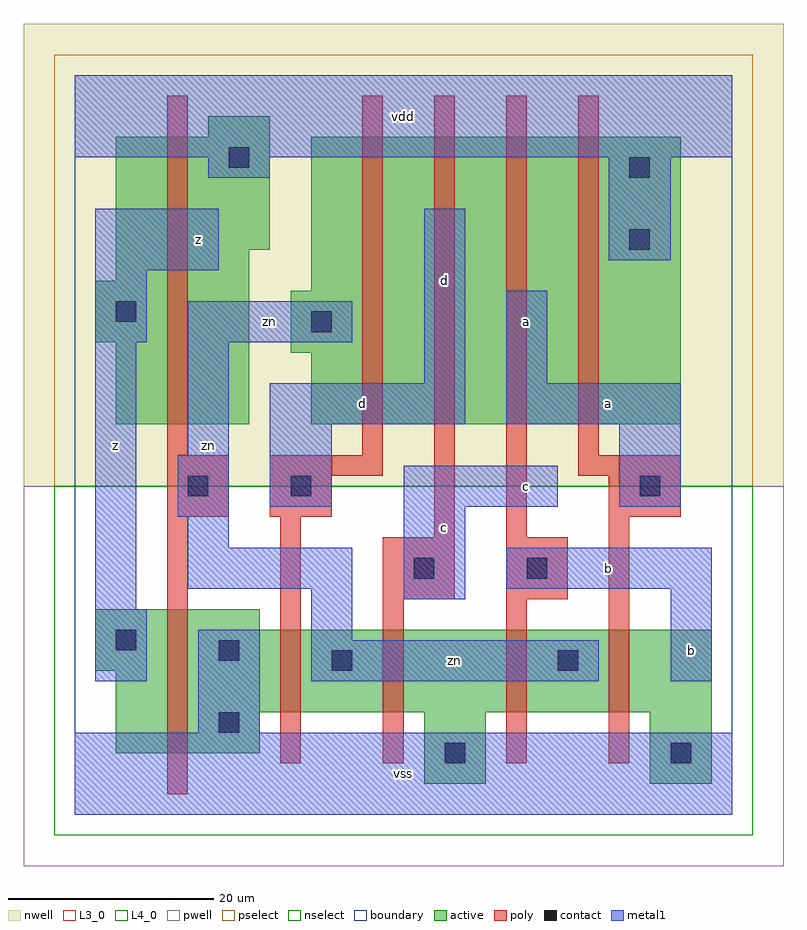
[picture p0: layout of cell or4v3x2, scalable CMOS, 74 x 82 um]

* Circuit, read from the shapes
.subckt or4v3x2 a b c d vdd vss z zn
M1 vss zn z VSUBS nfet w=14u l=2u
M2 zn d vss VSUBS nfet w=8u l=2u
M3 vss c zn VSUBS nfet w=8u l=2u
M4 zn b vss VSUBS nfet w=8u l=2u
M5 vss a zn VSUBS nfet w=8u l=2u
M6 vdd zn z n1 pfet w=28u l=2u
M7 n2 d zn n1 pfet w=28u l=2u
M8 n3 c n2 n1 pfet w=28u l=2u
M9 n4 b n3 n1 pfet w=28u l=2u
M10 vdd a n4 n1 pfet w=28u l=2u
.ends

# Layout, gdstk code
import gdstk
lib = gdstk.Library(unit=1e-6, precision=1e-09)
def R(c, l, rs):  # rectangles x0, y0, x1, y1
    for r in rs: c.add(gdstk.rectangle(r[:2], r[2:], *l))
L3_0 = (3, 0)
L4_0 = (4, 0)
contact = (25, 0)
pwell = (41, 0)
nwell = (42, 0)
active = (43, 0)
pselect = (44, 0)
nselect = (45, 0)
poly = (46, 0)
metal1 = (49, 0)
boundary = (63, 0)

or4v3x2 = lib.new_cell('or4v3x2')
R(or4v3x2, L3_0, [(34,3,40,10), (56,3,62,10), (4,6,18,10), (4,10,62,14), (2,14,62,18), (2,18,18,20)])
R(or4v3x2, L4_0, [(4,38,17,46), (23,38,59,45), (21,45,59,51), (2,46,17,52), (23,51,59,66), (4,52,17,55), (4,55,19,66), (13,66,19,68)])
R(or4v3x2, contact, [(36,5,38,7), (58,5,60,7), (14,8,16,10), (25,14,27,16), (47,14,49,16), (14,15,16,17), (4,16,6,18), (33,23,35,25), (44,23,46,25), (11,31,13,33), (21,31,23,33), (55,31,57,33), (23,47,25,49), (4,48,6,50), (54,55,56,57), (54,62,56,64), (15,63,17,65)])
R(or4v3x2, pwell, [(-5,-5,69,32)])
R(or4v3x2, nwell, [(-5,32,69,77)])
R(or4v3x2, active, [(34,3,40,10), (56,3,62,10), (4,6,18,10), (4,10,62,14), (2,14,62,18), (2,18,18,20), (4,38,17,46), (23,38,59,45), (21,45,59,51), (2,46,17,52), (23,51,59,66), (4,52,17,55), (4,55,19,66), (13,66,19,68)])
R(or4v3x2, pselect, [(-2,32,66,74)])
R(or4v3x2, nselect, [(-2,-2,66,32)])
R(or4v3x2, poly, [(9,2,11,29), (20,5,22,29), (30,5,32,21), (42,5,44,21), (52,5,54,29), (30,21,37,27), (42,21,48,27), (35,27,37,70), (42,27,44,70), (9,29,15,35), (19,29,25,33), (52,29,59,33), (19,33,30,35), (49,33,59,35), (9,35,11,70), (28,35,30,70), (49,35,51,70)])
R(or4v3x2, metal1, [(0,0,64,8), (12,8,18,18), (2,13,7,20), (23,13,51,17), (58,13,62,22), (23,17,27,22), (2,20,6,46), (32,21,38,30), (11,22,27,26), (42,22,62,26), (11,26,15,29), (10,29,15,35), (19,30,25,38), (32,30,47,34), (53,30,59,38), (11,35,15,46), (19,38,38,42), (42,38,59,42), (34,42,38,59), (42,42,46,51), (2,46,7,53), (11,46,27,50), (2,53,14,59), (52,54,58,64), (13,62,19,64), (0,64,64,72)])
R(or4v3x2, boundary, [(0,0,64,72)])
or4v3x2.add(gdstk.Label('zn', (13,36), layer=49, texttype=0))
or4v3x2.add(gdstk.Label('zn', (19,48), layer=49, texttype=0))
or4v3x2.add(gdstk.Label('zn', (37,15), layer=49, texttype=0))
or4v3x2.add(gdstk.Label('z', (4,36), layer=49, texttype=0))
or4v3x2.add(gdstk.Label('z', (12,56), layer=49, texttype=0))
or4v3x2.add(gdstk.Label('d', (28,40), layer=49, texttype=0))
or4v3x2.add(gdstk.Label('vss', (32,4), layer=49, texttype=0))
or4v3x2.add(gdstk.Label('c', (36,28), layer=49, texttype=0))
or4v3x2.add(gdstk.Label('c', (44,32), layer=49, texttype=0))
or4v3x2.add(gdstk.Label('d', (36,52), layer=49, texttype=0))
or4v3x2.add(gdstk.Label('a', (44,48), layer=49, texttype=0))
or4v3x2.add(gdstk.Label('vdd', (32,68), layer=49, texttype=0))
or4v3x2.add(gdstk.Label('b', (60,16), layer=49, texttype=0))
or4v3x2.add(gdstk.Label('b', (52,24), layer=49, texttype=0))
or4v3x2.add(gdstk.Label('a', (52,40), layer=49, texttype=0))

lib.write_gds('or4v3x2.gds')
